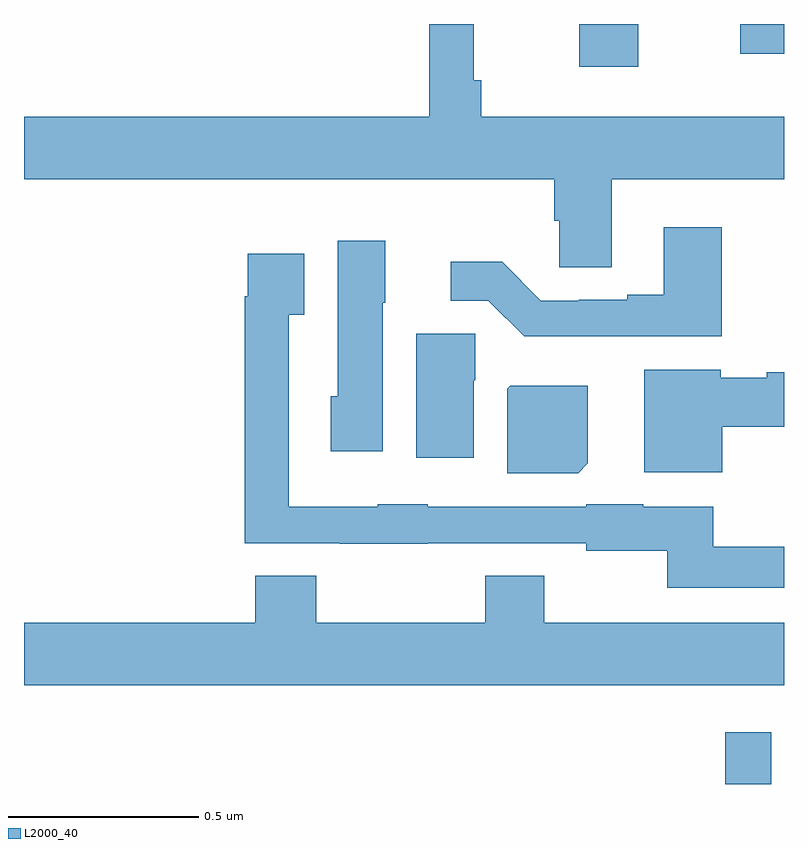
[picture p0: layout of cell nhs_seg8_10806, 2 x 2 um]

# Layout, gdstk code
import gdstk
lib = gdstk.Library(unit=1e-6, precision=1e-09)
def R(c, l, rs):  # rectangles x0, y0, x1, y1
    for r in rs: c.add(gdstk.rectangle(r[:2], r[2:], *l))
def P(c, l, *ps):  # polygons
    for p in ps: c.add(gdstk.Polygon(p, *l))
L2000_40 = (2000, 40)

nhs_seg8_10806 = lib.new_cell('nhs_seg8_10806')
R(nhs_seg8_10806, L2000_40, [(255.846,1122.9,255.967,1123.036), (255.461,1124.787,255.616,1124.9), (255.885,1124.822,256,1124.9)])
P(nhs_seg8_10806, L2000_40, [(255.547,1124.492),(256,1124.492),(256,1124.656),(255.203,1124.656),(255.203,1124.752),(255.183,1124.752),(255.183,1124.9),(255.067,1124.9),(255.067,1124.656),(254,1124.656),(254,1124.492),(255.395,1124.492),(255.395,1124.382),(255.408,1124.382),(255.408,1124.26),(255.547,1124.26)],
  [(255.836,1124.365),(255.683,1124.365),(255.683,1124.188),(255.587,1124.188),(255.587,1124.175),(255.46,1124.175),(255.46,1124.172),(255.36,1124.172),(255.258,1124.275),(255.123,1124.275),(255.123,1124.172),(255.222,1124.172),(255.317,1124.078),(255.836,1124.078)],
  [(254.944,1124.166),(254.95,1124.166),(254.95,1124.329),(254.825,1124.329),(254.825,1123.92),(254.807,1123.92),(254.807,1123.776),(254.944,1123.776)],
  [(256,1123.525),(255.814,1123.525),(255.814,1123.63),(255.63,1123.63),(255.63,1123.636),(255.48,1123.636),(255.48,1123.629),(255.063,1123.629),(255.063,1123.636),(254.931,1123.636),(254.931,1123.63),(254.697,1123.63),(254.697,1124.135),(254.737,1124.135),(254.737,1124.296),(254.589,1124.296),(254.589,1124.183),(254.581,1124.183),(254.581,1123.533),(254.831,1123.533),(254.831,1123.532),(255.063,1123.532),(255.063,1123.533),(255.48,1123.533),(255.48,1123.514),(255.693,1123.514),(255.693,1123.416),(256,1123.416)],
  [(255.184,1123.962),(255.188,1123.962),(255.188,1124.085),(255.032,1124.085),(255.032,1123.758),(255.184,1123.758)],
  [(255.838,1123.84),(256,1123.84),(256,1123.984),(255.954,1123.984),(255.954,1123.969),(255.834,1123.969),(255.834,1123.99),(255.632,1123.99),(255.632,1123.721),(255.838,1123.721)],
  [(255.484,1123.744),(255.484,1123.948),(255.28,1123.948),(255.272,1123.94),(255.272,1123.718),(255.458,1123.718)],
  [(256,1123.324),(255.369,1123.324),(255.369,1123.448),(255.214,1123.448),(255.214,1123.324),(254.769,1123.324),(254.769,1123.448),(254.609,1123.448),(254.609,1123.324),(254,1123.324),(254,1123.16),(256,1123.16)])

lib.write_gds('nhs_seg8_10806.gds')
